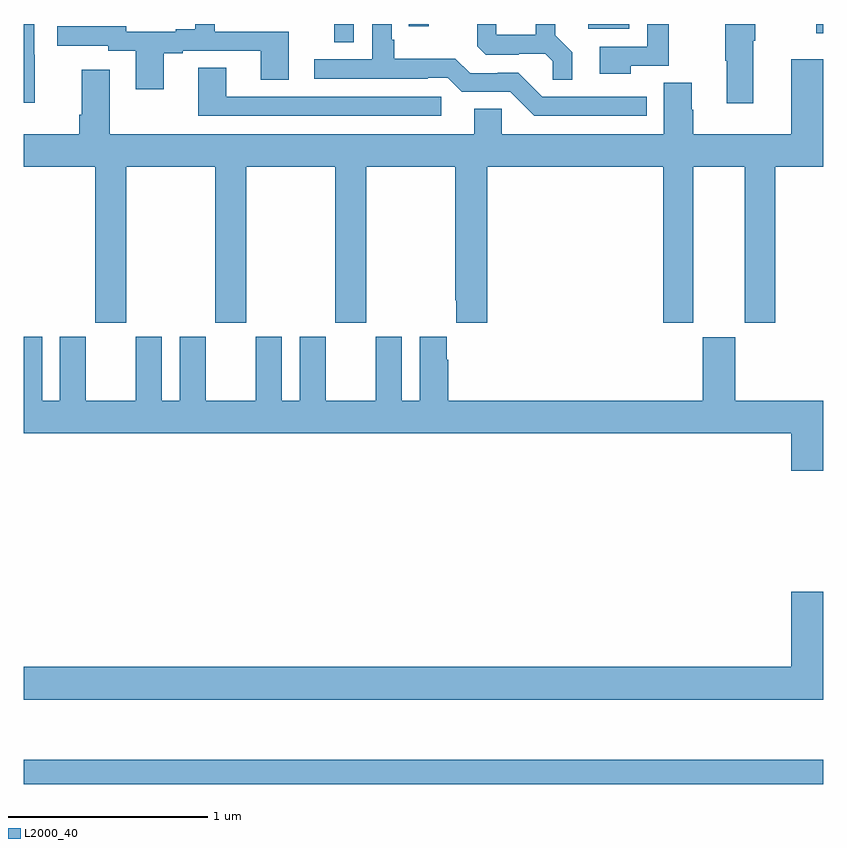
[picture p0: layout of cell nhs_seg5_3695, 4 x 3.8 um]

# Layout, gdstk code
import gdstk
lib = gdstk.Library(unit=1e-6, precision=1e-09)
def R(c, l, rs):  # rectangles x0, y0, x1, y1
    for r in rs: c.add(gdstk.rectangle(r[:2], r[2:], *l))
def P(c, l, *ps):  # polygons
    for p in ps: c.add(gdstk.Polygon(p, *l))
L2000_40 = (2000, 40)

nhs_seg5_3695 = lib.new_cell('nhs_seg5_3695')
R(nhs_seg5_3695, L2000_40, [(329,862.998,333,863.119), (330.553,866.707,330.651,866.799), (332.964,866.753,333,866.799), (331.823,866.774,332.029,866.799), (330.925,866.787,331.026,866.799)])
P(nhs_seg5_3695, L2000_40, [(332.65,866.715),(332.658,866.715),(332.658,866.799),(332.509,866.799),(332.509,866.615),(332.516,866.615),(332.516,866.403),(332.65,866.403)],
  [(331.745,866.657),(331.659,866.743),(331.659,866.799),(331.562,866.799),(331.562,866.746),(331.364,866.746),(331.364,866.799),(331.27,866.799),(331.27,866.687),(331.311,866.646),(331.476,866.646),(331.476,866.649),(331.61,866.649),(331.647,866.612),(331.647,866.521),(331.745,866.521)],
  [(329.055,866.645),(329.052,866.645),(329.052,866.799),(329,866.799),(329,866.405),(329.055,866.405)],
  [(332.116,866.436),(331.593,866.436),(331.473,866.556),(331.372,866.556),(331.372,866.553),(331.233,866.553),(331.16,866.626),(330.853,866.626),(330.853,866.719),(330.84,866.719),(330.84,866.799),(330.744,866.799),(330.744,866.622),(330.453,866.622),(330.453,866.526),(331.022,866.526),(331.022,866.529),(331.122,866.529),(331.191,866.46),(331.434,866.46),(331.554,866.34),(332.116,866.34)],
  [(329.701,866.652),(329.797,866.652),(329.797,866.664),(330.185,866.664),(330.185,866.521),(330.325,866.521),(330.325,866.76),(329.955,866.76),(329.955,866.799),(329.858,866.799),(329.858,866.773),(329.762,866.773),(329.762,866.76),(329.514,866.76),(329.514,866.787),(329.169,866.787),(329.169,866.691),(329.424,866.691),(329.424,866.664),(329.561,866.664),(329.561,866.472),(329.701,866.472)],
  [(332.037,866.589),(332.227,866.589),(332.227,866.799),(332.118,866.799),(332.118,866.685),(331.881,866.685),(331.881,866.549),(332.037,866.549)],
  [(329.514,866.084),(329.959,866.084),(329.959,865.305),(330.114,865.305),(330.114,866.084),(330.559,866.084),(330.559,865.305),(330.714,865.305),(330.714,866.084),(331.159,866.084),(331.159,865.417),(331.163,865.417),(331.163,865.305),(331.319,865.305),(331.319,866.084),(332.198,866.084),(332.198,865.305),(332.35,865.305),(332.35,866.084),(332.606,866.084),(332.606,865.305),(332.759,865.305),(332.759,866.084),(333,866.084),(333,866.623),(332.84,866.623),(332.84,866.248),(332.349,866.248),(332.349,866.37),(332.341,866.37),(332.341,866.504),(332.201,866.504),(332.201,866.248),(331.392,866.248),(331.392,866.375),(331.253,866.375),(331.253,866.248),(329.431,866.248),(329.431,866.569),(329.291,866.569),(329.291,866.344),(329.279,866.344),(329.279,866.248),(329,866.248),(329,866.084),(329.359,866.084),(329.359,865.305),(329.514,865.305)],
  [(331.09,866.436),(330.013,866.436),(330.013,866.579),(329.873,866.579),(329.873,866.34),(331.09,866.34)],
  [(333,864.916),(332.56,864.916),(332.56,865.233),(332.396,865.233),(332.396,864.916),(331.124,864.916),(331.124,865.121),(331.117,865.121),(331.117,865.234),(330.98,865.234),(330.98,864.916),(330.892,864.916),(330.892,865.234),(330.761,865.234),(330.761,864.916),(330.511,864.916),(330.511,865.234),(330.38,865.234),(330.38,864.916),(330.292,864.916),(330.292,865.234),(330.161,865.234),(330.161,864.916),(329.911,864.916),(329.911,865.234),(329.78,865.234),(329.78,864.916),(329.692,864.916),(329.692,865.234),(329.561,865.234),(329.561,864.916),(329.311,864.916),(329.311,865.234),(329.18,865.234),(329.18,864.916),(329.092,864.916),(329.092,865.234),(329,865.234),(329,864.752),(332.84,864.752),(332.84,864.564),(333,864.564)],
  [(333,863.959),(332.84,863.959),(332.84,863.584),(329,863.584),(329,863.42),(333,863.42)])

lib.write_gds('nhs_seg5_3695.gds')
